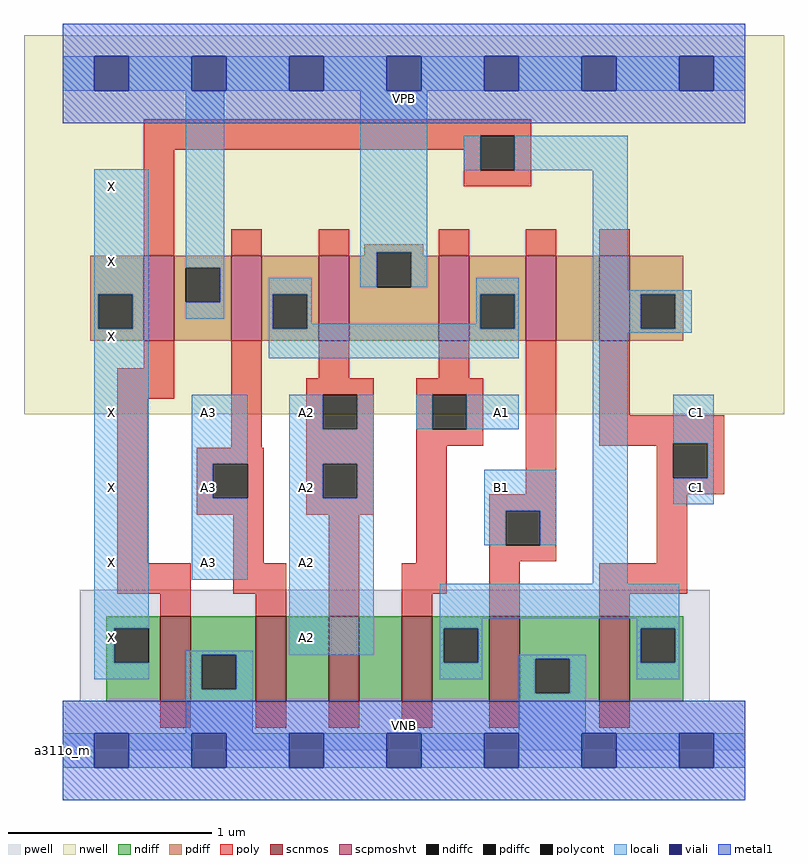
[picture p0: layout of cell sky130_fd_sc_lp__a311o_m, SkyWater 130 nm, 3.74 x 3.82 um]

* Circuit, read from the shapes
.subckt sky130_fd_sc_lp__a311o_m A1 A2 A3 B1 C1 VGND VNB VPB VPWR X
XM1 VGND n1 X VNB sky130_fd_pr__nfet_01v8 w=0.42 l=0.15
XM2 n2 A3 VGND VNB sky130_fd_pr__nfet_01v8 w=0.42 l=0.15
XM3 n3 A2 n2 VNB sky130_fd_pr__nfet_01v8 w=0.42 l=0.15
XM4 n1 A1 n3 VNB sky130_fd_pr__nfet_01v8 w=0.42 l=0.15
XM5 VGND B1 n1 VNB sky130_fd_pr__nfet_01v8 w=0.42 l=0.15
XM6 n1 C1 VGND VNB sky130_fd_pr__nfet_01v8 w=0.42 l=0.15
XM7 VPWR n1 X VPB sky130_fd_pr__pfet_01v8_hvt w=0.42 l=0.15
XM8 n4 A3 VPWR VPB sky130_fd_pr__pfet_01v8_hvt w=0.42 l=0.15
XM9 VPWR A2 n4 VPB sky130_fd_pr__pfet_01v8_hvt w=0.42 l=0.15
XM10 n4 A1 VPWR VPB sky130_fd_pr__pfet_01v8_hvt w=0.42 l=0.15
XM11 n5 B1 n4 VPB sky130_fd_pr__pfet_01v8_hvt w=0.42 l=0.15
XM12 n1 C1 n5 VPB sky130_fd_pr__pfet_01v8_hvt w=0.42 l=0.15
.ends

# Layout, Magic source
magic
tech sky130A
magscale 1 2
<< nwell >>
rect -38 331 710 704
<< pwell >>
rect 17 49 637 158
rect 0 0 672 49
<< scnmos >>
rect 96 48 126 132
rect 190 48 220 132
rect 262 48 292 132
rect 334 48 364 132
rect 420 48 450 132
rect 528 48 558 132
<< scpmoshvt >>
rect 80 403 110 487
rect 166 403 196 487
rect 252 403 282 487
rect 370 403 400 487
rect 456 403 486 487
rect 528 403 558 487
<< ndiff >>
rect 43 120 96 132
rect 43 86 51 120
rect 85 86 96 120
rect 43 48 96 86
rect 126 94 190 132
rect 126 60 137 94
rect 171 60 190 94
rect 126 48 190 60
rect 220 48 262 132
rect 292 48 334 132
rect 364 120 420 132
rect 364 86 375 120
rect 409 86 420 120
rect 364 48 420 86
rect 450 90 528 132
rect 450 56 465 90
rect 499 56 528 90
rect 450 48 528 56
rect 558 120 611 132
rect 558 86 569 120
rect 603 86 611 120
rect 558 48 611 86
<< pdiff >>
rect 297 490 355 498
rect 297 487 309 490
rect 27 449 80 487
rect 27 415 35 449
rect 69 415 80 449
rect 27 403 80 415
rect 110 475 166 487
rect 110 441 121 475
rect 155 441 166 475
rect 110 403 166 441
rect 196 449 252 487
rect 196 415 207 449
rect 241 415 252 449
rect 196 403 252 415
rect 282 456 309 487
rect 343 487 355 490
rect 343 456 370 487
rect 282 403 370 456
rect 400 449 456 487
rect 400 415 411 449
rect 445 415 456 449
rect 400 403 456 415
rect 486 403 528 487
rect 558 449 611 487
rect 558 415 569 449
rect 603 415 611 449
rect 558 403 611 415
<< ndiffc >>
rect 51 86 85 120
rect 137 60 171 94
rect 375 86 409 120
rect 465 56 499 90
rect 569 86 603 120
<< pdiffc >>
rect 35 415 69 449
rect 121 441 155 475
rect 207 415 241 449
rect 309 456 343 490
rect 411 415 445 449
rect 569 415 603 449
<< poly >>
rect 80 605 461 621
rect 80 591 411 605
rect 80 487 110 591
rect 395 571 411 591
rect 445 571 461 605
rect 395 555 461 571
rect 166 487 196 513
rect 252 487 282 513
rect 370 487 400 513
rect 456 487 486 513
rect 528 487 558 513
rect 80 376 110 403
rect 54 346 110 376
rect 54 184 84 346
rect 166 298 196 403
rect 252 366 282 403
rect 370 366 400 403
rect 240 350 306 366
rect 240 316 256 350
rect 290 316 306 350
rect 132 282 198 298
rect 132 248 148 282
rect 182 248 198 282
rect 132 232 198 248
rect 240 282 306 316
rect 240 248 256 282
rect 290 248 306 282
rect 240 232 306 248
rect 348 350 414 366
rect 348 316 364 350
rect 398 316 414 350
rect 348 300 414 316
rect 168 184 198 232
rect 54 154 126 184
rect 168 154 220 184
rect 96 132 126 154
rect 190 132 220 154
rect 262 132 292 232
rect 348 184 378 300
rect 456 252 486 403
rect 528 330 558 403
rect 528 302 651 330
rect 528 300 601 302
rect 334 154 378 184
rect 420 236 486 252
rect 420 202 436 236
rect 470 202 486 236
rect 420 186 486 202
rect 585 268 601 300
rect 635 268 651 302
rect 585 252 651 268
rect 334 132 364 154
rect 420 132 450 186
rect 585 184 615 252
rect 528 154 615 184
rect 528 132 558 154
rect 96 22 126 48
rect 190 22 220 48
rect 262 22 292 48
rect 334 22 364 48
rect 420 22 450 48
rect 528 22 558 48
<< polycont >>
rect 411 571 445 605
rect 256 316 290 350
rect 148 248 182 282
rect 256 248 290 282
rect 364 316 398 350
rect 436 202 470 236
rect 601 268 635 302
<< locali >>
rect 0 649 31 683
rect 65 649 127 683
rect 161 649 223 683
rect 257 649 319 683
rect 353 649 415 683
rect 449 649 511 683
rect 545 649 607 683
rect 641 649 672 683
rect 31 449 85 572
rect 31 415 35 449
rect 69 415 85 449
rect 121 475 159 649
rect 155 441 159 475
rect 293 490 359 649
rect 395 571 411 605
rect 445 571 556 605
rect 121 425 159 441
rect 203 449 245 465
rect 293 456 309 490
rect 343 456 359 490
rect 31 120 85 415
rect 203 415 207 449
rect 241 420 245 449
rect 407 449 449 465
rect 407 420 411 449
rect 241 415 411 420
rect 445 415 449 449
rect 203 386 449 415
rect 522 453 556 571
rect 522 449 619 453
rect 522 415 569 449
rect 603 415 619 449
rect 522 411 619 415
rect 127 282 182 350
rect 127 248 148 282
rect 127 168 182 248
rect 223 316 256 350
rect 290 316 306 350
rect 348 316 364 350
rect 398 316 449 350
rect 223 282 306 316
rect 223 248 256 282
rect 290 248 306 282
rect 31 86 51 120
rect 31 70 85 86
rect 121 94 187 98
rect 223 94 306 248
rect 415 236 486 276
rect 415 202 436 236
rect 470 202 486 236
rect 522 164 556 411
rect 601 302 641 350
rect 635 268 641 302
rect 601 242 641 268
rect 371 130 607 164
rect 371 120 413 130
rect 121 60 137 94
rect 171 60 187 94
rect 371 86 375 120
rect 409 86 413 120
rect 565 120 607 130
rect 371 70 413 86
rect 449 90 515 94
rect 121 17 187 60
rect 449 56 465 90
rect 499 56 515 90
rect 565 86 569 120
rect 603 86 607 120
rect 565 70 607 86
rect 449 17 515 56
rect 0 -17 31 17
rect 65 -17 127 17
rect 161 -17 223 17
rect 257 -17 319 17
rect 353 -17 415 17
rect 449 -17 511 17
rect 545 -17 607 17
rect 641 -17 672 17
<< viali >>
rect 31 649 65 683
rect 127 649 161 683
rect 223 649 257 683
rect 319 649 353 683
rect 415 649 449 683
rect 511 649 545 683
rect 607 649 641 683
rect 31 -17 65 17
rect 127 -17 161 17
rect 223 -17 257 17
rect 319 -17 353 17
rect 415 -17 449 17
rect 511 -17 545 17
rect 607 -17 641 17
<< metal1 >>
rect 0 683 672 715
rect 0 649 31 683
rect 65 649 127 683
rect 161 649 223 683
rect 257 649 319 683
rect 353 649 415 683
rect 449 649 511 683
rect 545 649 607 683
rect 641 649 672 683
rect 0 617 672 649
rect 0 17 672 49
rect 0 -17 31 17
rect 65 -17 127 17
rect 161 -17 223 17
rect 257 -17 319 17
rect 353 -17 415 17
rect 449 -17 511 17
rect 545 -17 607 17
rect 641 -17 672 17
rect 0 -49 672 -17
<< labels >>
flabel pwell s 0 0 672 49 0 FreeSans 200 0 0 0 VNB
port 7 nsew ground bidirectional
flabel nwell s 0 617 672 666 0 FreeSans 200 0 0 0 VPB
port 8 nsew power bidirectional
rlabel comment s 0 0 0 0 4 a311o_m
flabel metal1 s 0 617 672 666 0 FreeSans 340 0 0 0 VPWR
port 9 nsew power bidirectional
flabel metal1 s 0 0 672 49 0 FreeSans 340 0 0 0 VGND
port 6 nsew ground bidirectional
flabel locali s 415 316 449 350 0 FreeSans 340 0 0 0 A1
port 1 nsew signal input
flabel locali s 223 94 257 128 0 FreeSans 340 0 0 0 A2
port 2 nsew signal input
flabel locali s 223 168 257 202 0 FreeSans 340 0 0 0 A2
port 2 nsew signal input
flabel locali s 223 242 257 276 0 FreeSans 340 0 0 0 A2
port 2 nsew signal input
flabel locali s 223 316 257 350 0 FreeSans 340 0 0 0 A2
port 2 nsew signal input
flabel locali s 127 168 161 202 0 FreeSans 340 0 0 0 A3
port 3 nsew signal input
flabel locali s 127 242 161 276 0 FreeSans 340 0 0 0 A3
port 3 nsew signal input
flabel locali s 127 316 161 350 0 FreeSans 340 0 0 0 A3
port 3 nsew signal input
flabel locali s 415 242 449 276 0 FreeSans 340 0 0 0 B1
port 4 nsew signal input
flabel locali s 607 242 641 276 0 FreeSans 340 0 0 0 C1
port 5 nsew signal input
flabel locali s 607 316 641 350 0 FreeSans 340 0 0 0 C1
port 5 nsew signal input
flabel locali s 31 94 65 128 0 FreeSans 340 0 0 0 X
port 10 nsew signal output
flabel locali s 31 168 65 202 0 FreeSans 340 0 0 0 X
port 10 nsew signal output
flabel locali s 31 242 65 276 0 FreeSans 340 0 0 0 X
port 10 nsew signal output
flabel locali s 31 316 65 350 0 FreeSans 340 0 0 0 X
port 10 nsew signal output
flabel locali s 31 390 65 424 0 FreeSans 340 0 0 0 X
port 10 nsew signal output
flabel locali s 31 464 65 498 0 FreeSans 340 0 0 0 X
port 10 nsew signal output
flabel locali s 31 538 65 572 0 FreeSans 340 0 0 0 X
port 10 nsew signal output
<< properties >>
string LEFsite unit
string LEFclass CORE
string FIXED_BBOX 0 0 672 666
string GDS_FILE $PDKPATH/libs.ref/sky130_fd_sc_lp/gds/sky130_fd_sc_lp.gds
string LEFsymmetry X Y R90
string GDS_END 3915242
string GDS_START 3907600
<< end >>
